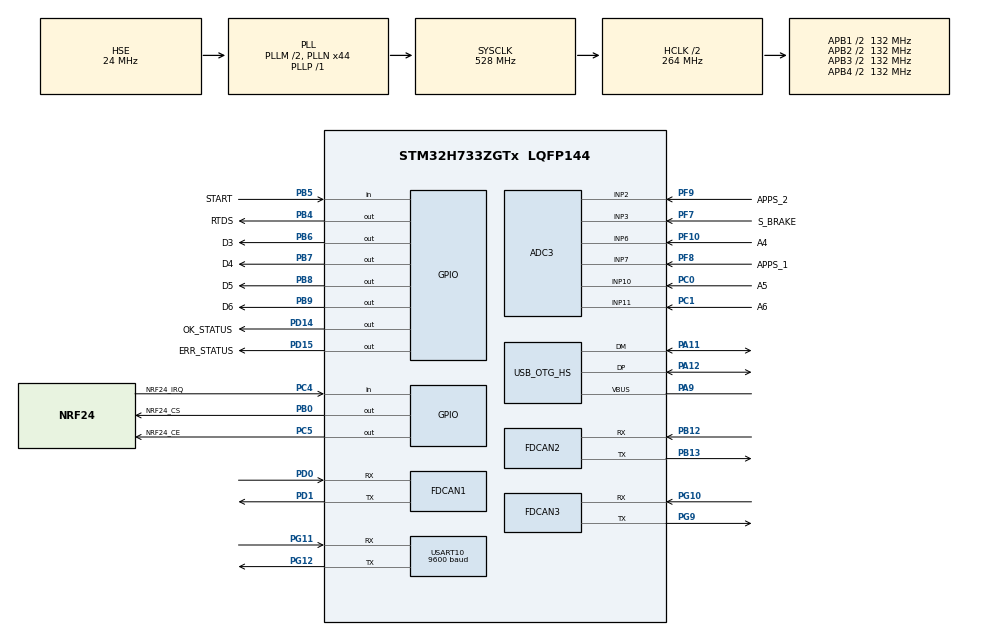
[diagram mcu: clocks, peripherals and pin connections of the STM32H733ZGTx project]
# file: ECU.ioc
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ADC3.Channel-0\#ChannelRegularConversion=ADC_CHANNEL_3
ADC3.NbrOfConversionFlag=1
ADC3.OffsetNumber-0\#ChannelRegularConversion=ADC_OFFSET_NONE
ADC3.OffsetSign-0\#ChannelRegularConversion=ADC3_OFFSET_SIGN_NEGATIVE
ADC3.Rank-0\#ChannelRegularConversion=1
ADC3.SamplingTime-0\#ChannelRegularConversion=ADC3_SAMPLETIME_2CYCLES_5
FDCAN1.AutoRetransmission=ENABLE
FDCAN1.CalculateBaudRateNominal=500000
FDCAN1.CalculateTimeBitNominal=2000
FDCAN1.CalculateTimeQuantumNominal=125.0
FDCAN1.ExtFiltersNbr=1
FDCAN1.NominalPrescaler=3
FDCAN1.NominalTimeSeg1=13
FDCAN1.NominalTimeSeg2=2
FDCAN1.RxBuffersNbr=0
FDCAN1.RxFifo0ElmtsNbr=32
FDCAN1.RxFifo1ElmtsNbr=32
FDCAN1.StdFiltersNbr=1
FDCAN1.TxBuffersNbr=0
FDCAN1.TxEventsNbr=0
FDCAN1.TxFifoQueueElmtsNbr=32
FDCAN2.AutoRetransmission=ENABLE
FDCAN2.CalculateBaudRateNominal=500000
FDCAN2.CalculateTimeBitNominal=2000
FDCAN2.CalculateTimeQuantumNominal=125.0
FDCAN2.ExtFiltersNbr=1
FDCAN2.FrameFormat=FDCAN_FRAME_CLASSIC
FDCAN2.NominalPrescaler=3
FDCAN2.NominalTimeSeg1=10
FDCAN2.NominalTimeSeg2=5
FDCAN2.RxBuffersNbr=0
FDCAN2.RxFifo0ElmtSize=FDCAN_DATA_BYTES_8
FDCAN2.RxFifo0ElmtsNbr=16
FDCAN2.RxFifo1ElmtsNbr=16
FDCAN2.StdFiltersNbr=1
FDCAN2.TxBuffersNbr=0
FDCAN2.TxEventsNbr=0
FDCAN2.TxFifoQueueElmtsNbr=16
FDCAN3.AutoRetransmission=ENABLE
FDCAN3.CalculateBaudRateNominal=500000
FDCAN3.CalculateTimeBitNominal=2000
FDCAN3.CalculateTimeQuantumNominal=41.666666666666664
FDCAN3.NominalPrescaler=1
FDCAN3.NominalTimeSeg1=34
FDCAN3.NominalTimeSeg2=13
FDCAN3.TxFifoQueueElmtsNbr=32
FREERTOS.Queues01=can_rx_queue,32,CanFrame,0,Dynamic,NULL,NULL;can_tx_queue,32,CanFrame,0,Dynamic,NULL,NULL
FREERTOS.Tasks01=defaultTask,8,128,StartDefaultTask,Default,NULL,Dynamic,NULL,NULL;App_InitTask,40,512,StartAppInitTask,Default,NULL,Dynamic,NULL,NULL;ControlTask,48,512,StartControlTask,Default,NULL,Dynamic,NULL,NULL;CanRxTask,32,512,StartCanRxTask,Default,NULL,Dynamic,NULL,NULL;CanTxTask,32,256,StartCanTxTask,Default,NULL,Dynamic,NULL,NULL;DiagTask,8,512,StartDiagTask,Default,NULL,Dynamic,NULL,NULL;TelemetryTask,16,512,StartTelemetryTask,Default,NULL,Dynamic,NULL,NULL
FREERTOS.configCHECK_FOR_STACK_OVERFLOW=2
FREERTOS.configENABLE_FPU=1
FREERTOS.configTICK_RATE_HZ=1000
FREERTOS.configTOTAL_HEAP_SIZE=65536
FREERTOS.configUSE_MALLOC_FAILED_HOOK=1
FREERTOS.configUSE_NEWLIB_REENTRANT=1
IWDG1.Prescaler=IWDG_PRESCALER_32
IWDG1.Reload=500
Mcu.Family=STM32H7
Mcu.Name=STM32H733ZGTx
Mcu.Package=LQFP144
NVIC.FDCAN1_IT0_IRQn=true\:5\:0\:true\:false\:true\:true\:true\:true\:true
NVIC.FDCAN2_IT0_IRQn=true\:5\:0\:true\:false\:true\:true\:true\:true\:true
NVIC.PriorityGroup=NVIC_PRIORITYGROUP_4
NVIC.TIM16_IRQn=true\:5\:0\:false\:false\:true\:true\:true\:true\:true
NVIC.TIM23_IRQn=true\:15\:0\:false\:false\:true\:false\:false\:true\:true
NVIC.TimeBase=TIM23_IRQn
NVIC.TimeBaseIP=TIM23
NVIC.USART10_IRQn=true\:5\:0\:false\:false\:true\:true\:true\:true\:true
PA11.Mode=Device_Only_FS
PA11.Signal=USB_OTG_HS_DM
PA12.Mode=Device_Only_FS
PA12.Signal=USB_OTG_HS_DP
PA13(JTMS/SWDIO).Mode=Serial_Wire
PA13(JTMS/SWDIO).Signal=DEBUG_JTMS-SWDIO
PA14(JTCK/SWCLK).Mode=Serial_Wire
PA14(JTCK/SWCLK).Signal=DEBUG_JTCK-SWCLK
PA9.Mode=Activate_VBUS_FS
PA9.Signal=USB_OTG_HS_VBUS
PB0.GPIO_Label=NRF24_CS
PB0.Signal=GPIO_Output
PB12.Mode=FDCAN_Activate
PB12.Signal=FDCAN2_RX
PB13.Mode=FDCAN_Activate
PB13.Signal=FDCAN2_TX
PB4(NJTRST).GPIO_Label=RTDS
PB4(NJTRST).Signal=GPIO_Output
PB5.GPIO_Label=START
PB5.Signal=GPIO_Input
PB6.GPIO_Label=D3
PB6.Signal=GPIO_Output
PB7.GPIO_Label=D4
PB7.Signal=GPIO_Output
PB8.GPIO_Label=D5
PB8.Signal=GPIO_Output
PB9.GPIO_Label=D6
PB9.Signal=GPIO_Output
PC0.GPIO_Label=A5
PC0.Signal=ADCx_INP10
PC1.GPIO_Label=A6
PC1.Signal=ADCx_INP11
PC4.GPIO_Label=NRF24_IRQ
PC4.Signal=GPIO_Input
PC5.GPIO_Label=NRF24_CE
PC5.Signal=GPIO_Output
PD0.Mode=FDCAN_Activate
PD0.Signal=FDCAN1_RX
PD1.Mode=FDCAN_Activate
PD1.Signal=FDCAN1_TX
PD14.GPIO_Label=OK_STATUS
PD14.Signal=GPIO_Output
PD15.GPIO_Label=ERR_STATUS
PD15.Signal=GPIO_Output
PF10.GPIO_Label=A4
PF10.Mode=IN6-Single-Ended
PF10.Signal=ADC3_INP6
PF7.GPIO_Label=S_BRAKE
PF7.Mode=IN3-Single-Ended
PF7.Signal=ADC3_INP3
PF8.GPIO_Label=APPS_1
PF8.Signal=SharedAnalog_PF8
PF9.GPIO_Label=APPS_2
PF9.Mode=IN2-Single-Ended
PF9.Signal=ADC3_INP2
PG10.Mode=FDCAN_Activate
PG10.Signal=FDCAN3_RX
PG11.Mode=Asynchronous
PG11.Signal=USART10_RX
PG12.Mode=Asynchronous
PG12.Signal=USART10_TX
PG9.Mode=FDCAN_Activate
PG9.Signal=FDCAN3_TX
PH0-OSC_IN.Mode=HSE-External-Oscillator
PH0-OSC_IN.Signal=RCC_OSC_IN
PH1-OSC_OUT.Mode=HSE-External-Oscillator
PH1-OSC_OUT.Signal=RCC_OSC_OUT
ProjectManager.HeapSize=0x1000
ProjectManager.StackSize=0x400
ProjectManager.TargetToolchain=STM32CubeIDE
RCC.ADCCLockSelection=RCC_ADCCLKSOURCE_PLL2
RCC.ADCFreq_Value=96000000
RCC.APB1Freq_Value=132000000
RCC.APB2Freq_Value=132000000
RCC.APB3Freq_Value=132000000
RCC.APB4Freq_Value=132000000
RCC.CECCLockSelection=RCC_CECCLKSOURCE_LSI
RCC.CKPERSourceSelection=RCC_CLKPSOURCE_HSI
RCC.CSI_VALUE=4000000
RCC.CortexFreq_Value=528000000
RCC.Cortex_DivARG=SystemCoreClock/1000
RCC.D1PPRE=RCC_APB3_DIV2
RCC.D2PPRE1=RCC_APB1_DIV2
RCC.D2PPRE2=RCC_APB2_DIV2
RCC.D3PPRE=RCC_APB4_DIV2
RCC.DFSDMCLockSelection=RCC_DFSDM1CLKSOURCE_D2PCLK1
RCC.DIVM1=2
RCC.DIVM2=2
RCC.DIVN1=44
RCC.DIVN2=16
RCC.DIVP1=1
RCC.DIVQ1=4
RCC.DIVR2=1
RCC.EXTERNAL_CLOCK_VALUE=12288000
RCC.FDCANCLockSelection=RCC_FDCANCLKSOURCE_HSE
RCC.FMCCLockSelection=RCC_FMCCLKSOURCE_D1HCLK
RCC.HCLKFreq_Value=264000000
RCC.HPRE=RCC_HCLK_DIV2
RCC.HSE_VALUE=24000000
RCC.HSI48_VALUE=48000000
RCC.HSI_VALUE=64000000
RCC.I2C123CLockSelection=RCC_I2C1235CLKSOURCE_D2PCLK1
RCC.I2C4CLockSelection=RCC_I2C4CLKSOURCE_D3PCLK1
RCC.LPTIM1CLockSelection=RCC_LPTIM1CLKSOURCE_D2PCLK1
RCC.LPTIM2CLockSelection=RCC_LPTIM2CLKSOURCE_D3PCLK1
RCC.LPTIM345CLockSelection=RCC_LPTIM345CLKSOURCE_D3PCLK1
RCC.LPUART1CLockSelection=RCC_LPUART1CLKSOURCE_D3PCLK1
RCC.LSE_VALUE=32768
RCC.PLL2FRACN=0
RCC.PLL3FRACN=0
RCC.PLLFRACN=0
RCC.PLLSourceVirtual=RCC_PLLSOURCE_HSE
RCC.QSPICLockSelection=RCC_OSPICLKSOURCE_D1HCLK
RCC.RCC_MCO1Source=RCC_MCO1SOURCE_HSI
RCC.RCC_MCO2Source=RCC_MCO2SOURCE_SYSCLK
RCC.RNGCLockSelection=RCC_RNGCLKSOURCE_HSI48
RCC.SAI1CLockSelection=RCC_SAI1CLKSOURCE_PLL
RCC.SAI4ACLockSelection=RCC_SAI4ACLKSOURCE_PLL
RCC.SAI4BCLockSelection=RCC_SAI4BCLKSOURCE_PLL
RCC.SDMMC1CLockSelection=RCC_SDMMCCLKSOURCE_PLL2
RCC.SPDIFCLockSelection=RCC_SPDIFRXCLKSOURCE_PLL
RCC.SPI123CLockSelection=RCC_SPI123CLKSOURCE_PLL
RCC.SPI6CLockSelection=RCC_SPI6CLKSOURCE_D3PCLK1
RCC.SWPCLockSelection=RCC_SWPMI1CLKSOURCE_D2PCLK1
RCC.SYSCLKFreq_VALUE=528000000
RCC.SYSCLKSource=RCC_SYSCLKSOURCE_PLLCLK
RCC.Spi45ClockSelection=RCC_SPI45CLKSOURCE_D2PCLK1
RCC.USART16CLockSelection=RCC_USART16910CLKSOURCE_D2PCLK2
RCC.USART234578CLockSelection=RCC_USART234578CLKSOURCE_D2PCLK1
RCC.USBCLockSelection=RCC_USBCLKSOURCE_HSI48
RCC.USBFreq_Value=48000000
SH.ADCx_INP10.0=ADC3_INP10,IN10-Single-Ended
SH.ADCx_INP11.0=ADC3_INP11,IN11-Single-Ended
SH.SharedAnalog_PF8.0=ADC3_INN3
SH.SharedAnalog_PF8.1=ADC3_INP7,IN7-Single-Ended
TIM1.AutoReloadPreload=TIM_AUTORELOAD_PRELOAD_ENABLE
TIM1.Period=65535
TIM1.Prescaler=0
TIM16.Period=10000 - 1
TIM16.Prescaler=528
USART10.BaudRate=9600
USART10.VirtualMode-Asynchronous=VM_ASYNC
USB_OTG_HS.VirtualMode-Device_Only_FS=Device_Only_FS
VP_FREERTOS_VS_CMSIS_V2.Mode=CMSIS_V2
VP_IWDG1_VS_IWDG.Mode=IWDG_Activate
VP_MEMORYMAP_VS_MEMORYMAP.Mode=CurAppReg
VP_SYS_VS_tim23.Mode=TIM23
VP_TIM16_VS_ClockSourceINT.Mode=Enable_Timer
VP_TIM1_VS_ClockSourceINT.Mode=Internal
board=custom

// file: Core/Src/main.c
/* USER CODE BEGIN Header */
/**
  ******************************************************************************
  * @file           : main.c
  * @brief          : Main program body
  ******************************************************************************
  * @attention
  *
  * Copyright (c) 2026 STMicroelectronics.
  * All rights reserved.
  *
  * This software is licensed under terms that can be found in the LICENSE file
  * in the root directory of this software component.
  * If no LICENSE file comes with this software, it is provided AS-IS.
  *
  ******************************************************************************
  */
/* USER CODE END Header */
#include "main.h"
#include "FreeRTOS.h"
#include "cmsis_os2.h"
#include "adc.h"
#include "fdcan.h"
#include "iwdg.h"
#include "tim.h"
#include "usart.h"
#include "usb_otg.h"
#include "gpio.h"

void SystemClock_Config(void);
void MX_FREERTOS_Init(void);

int main(void)
{

  /* USER CODE BEGIN 1 */
  /* The stm32-can-bootloader hands the app off with IRQs masked (__disable_irq)
   * and SysTick stopped -- by design (its Bootloader_JumpToApplication, issue #59),
   * relying on the app to re-enable IRQs once it owns the CPU. Until we do, the
   * HAL timebase interrupt (TIM23) can't fire, HAL_GetTick() stays frozen, and
   * HAL's tick-based waits in HAL_Init / SystemClock_Config spin forever -> the
   * BL-inherited IWDG resets us before our own init runs (the intermittent boot
   * crash; SWD-confirmed: PRIMASK set hangs in HAL_Init, cleared it boots; bench
   * 6/6 cold-boots). Clear any stale pending SysTick, then unmask -- first thing. */
  SCB->ICSR = SCB_ICSR_PENDSTCLR_Msk;
  __enable_irq();
  /* USER CODE END 1 */

  /* MCU Configuration--------------------------------------------------------*/

  /* Reset of all peripherals, Initializes the Flash interface and the Systick. */
  HAL_Init();

  /* Configure the system clock */
  SystemClock_Config();

  /* USER CODE BEGIN SysInit */
  /* Bootloader-handoff hardening (fixes the intermittent IWDG boot crash; SWD
   * confirmed the app re-inits FDCAN over the BL's LIVE state, while the clean
   * reset path never faults):
   *   1) The BL leaves its IWDG running -- we inherit it across the jump and
   *      can't stop it. Refresh it now so a slow early init can't trip it before
   *      MX_IWDG1_Init re-owns it. Harmless no-op if no IWDG is running.
   *   2) The BL leaves FDCAN started + the shared message RAM populated. Force
   *      the FDCAN peripheral back to its reset state so MX_FDCAN1/2_Init configure
   *      from a known-clean baseline, exactly like a cold power-on (one reset line
   *      covers all FDCAN instances). */
  IWDG1->KR = 0x0000AAAAU;
  __HAL_RCC_FDCAN_FORCE_RESET();
  __HAL_RCC_FDCAN_RELEASE_RESET();
  /* USER CODE END SysInit */

  /* Initialize all configured peripherals */
  MX_GPIO_Init();
  MX_FDCAN1_Init();
  MX_FDCAN2_Init();
  MX_TIM1_Init();
  MX_TIM16_Init();
  MX_ADC3_Init();
  MX_USART10_UART_Init();
  MX_USB_OTG_HS_PCD_Init();
  MX_IWDG1_Init();
  MX_FDCAN3_Init();
  /* USER CODE BEGIN 2 */
  /* H7: HAL_PWR_EnableBkUpAccess() unlocks backup-domain WRITES but does not
   * clock the RTC. The fault latch (error_latch) and the BL boot-magic
   * (bootloader) live in RTC->BKPxR, and any BKPxR access bus-faults while the
   * RTC APB clock is off -- which it is after a backup-domain reset. The app
   * inherited RTCEN from the BL only on warm jumps; enable it explicitly here,
   * once, before the scheduler, so every BKPxR user works. Mirrors the BL. */
  HAL_PWR_EnableBkUpAccess();
  if ((RCC->BDCR & RCC_BDCR_RTCEN) == 0U) {
    __HAL_RCC_RTC_ENABLE();
  }
  /* USER CODE END 2 */

  /* Init scheduler */
  osKernelInitialize();  /* Call init function for freertos objects (in cmsis_os2.c) */
  MX_FREERTOS_Init();

  /* Start scheduler */
  osKernelStart();

  /* We should never get here as control is now taken by the scheduler */

  /* Infinite loop */
  while (1)
  {

  }
}

void SystemClock_Config(void)
{
  RCC_OscInitTypeDef RCC_OscInitStruct = {0};
  RCC_ClkInitTypeDef RCC_ClkInitStruct = {0};

  /** Supply configuration update enable
  */
  HAL_PWREx_ConfigSupply(PWR_LDO_SUPPLY);

  /** Configure the main internal regulator output voltage
  */
  __HAL_PWR_VOLTAGESCALING_CONFIG(PWR_REGULATOR_VOLTAGE_SCALE0);

  while(!__HAL_PWR_GET_FLAG(PWR_FLAG_VOSRDY)) {}

  /** Initializes the RCC Oscillators according to the specified parameters
  * in the RCC_OscInitTypeDef structure.
  */
  RCC_OscInitStruct.OscillatorType = RCC_OSCILLATORTYPE_HSI48|RCC_OSCILLATORTYPE_LSI
                              |RCC_OSCILLATORTYPE_HSE;
  RCC_OscInitStruct.HSEState = RCC_HSE_ON;
  RCC_OscInitStruct.LSIState = RCC_LSI_ON;
  RCC_OscInitStruct.HSI48State = RCC_HSI48_ON;
  RCC_OscInitStruct.PLL.PLLState = RCC_PLL_ON;
  RCC_OscInitStruct.PLL.PLLSource = RCC_PLLSOURCE_HSE;
  RCC_OscInitStruct.PLL.PLLM = 2;
  RCC_OscInitStruct.PLL.PLLN = 44;
  RCC_OscInitStruct.PLL.PLLP = 1;
  RCC_OscInitStruct.PLL.PLLQ = 4;
  RCC_OscInitStruct.PLL.PLLR = 2;
  RCC_OscInitStruct.PLL.PLLRGE = RCC_PLL1VCIRANGE_3;
  RCC_OscInitStruct.PLL.PLLVCOSEL = RCC_PLL1VCOWIDE;
  RCC_OscInitStruct.PLL.PLLFRACN = 0;
  if (HAL_RCC_OscConfig(&RCC_OscInitStruct) != HAL_OK)
  {
    Error_Handler();
  }

  /** Initializes the CPU, AHB and APB buses clocks
  */
  RCC_ClkInitStruct.ClockType = RCC_CLOCKTYPE_HCLK|RCC_CLOCKTYPE_SYSCLK
                              |RCC_CLOCKTYPE_PCLK1|RCC_CLOCKTYPE_PCLK2
                              |RCC_CLOCKTYPE_D3PCLK1|RCC_CLOCKTYPE_D1PCLK1;
  RCC_ClkInitStruct.SYSCLKSource = RCC_SYSCLKSOURCE_PLLCLK;
  RCC_ClkInitStruct.SYSCLKDivider = RCC_SYSCLK_DIV1;
  RCC_ClkInitStruct.AHBCLKDivider = RCC_HCLK_DIV2;
  RCC_ClkInitStruct.APB3CLKDivider = RCC_APB3_DIV2;
  RCC_ClkInitStruct.APB1CLKDivider = RCC_APB1_DIV2;
  RCC_ClkInitStruct.APB2CLKDivider = RCC_APB2_DIV2;
  RCC_ClkInitStruct.APB4CLKDivider = RCC_APB4_DIV2;

  if (HAL_RCC_ClockConfig(&RCC_ClkInitStruct, FLASH_LATENCY_3) != HAL_OK)
  {
    Error_Handler();
  }
}

void HAL_TIM_PeriodElapsedCallback(TIM_HandleTypeDef *htim)
{
  if (htim->Instance == TIM23)
  {
    HAL_IncTick();
  }
}

void Error_Handler(void)
{
  __disable_irq();
  while (1)
  {
  }
}

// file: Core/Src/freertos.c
/* USER CODE BEGIN Header */
/**
  ******************************************************************************
  * File Name          : freertos.c
  * Description        : Code for freertos applications
  ******************************************************************************
  * @attention
  *
  * Copyright (c) 2026 STMicroelectronics.
  * All rights reserved.
  *
  * This software is licensed under terms that can be found in the LICENSE file
  * in the root directory of this software component.
  * If no LICENSE file comes with this software, it is provided AS-IS.
  *
  ******************************************************************************
  */
/* USER CODE END Header */

#include "FreeRTOS.h"
#include "task.h"
#include "main.h"
#include "FreeRTOS.h"
#include "cmsis_os2.h"

/* USER CODE BEGIN Includes */
#include "app/app_globals.h"   /* ecu_app_globals_init, ecu_fault_latch_set_c */
#include "app/app_tasks.h"     /* ecu_*_task_run trampolines */
#include "app/can_frame.h"     /* CanFrame -> sizeof() for the queues below */
/* USER CODE END Includes */

/* USER CODE BEGIN Variables */
/* GpsTask -- MTK3339 NMEA drain + 0x508/0x509 publish (Core/Src/app/gps_task.cpp).
 * Deliberately declared and created HERE, in the USER CODE blocks, instead of via
 * CubeMX: a regen rewrites the generated task tables (it has already silently
 * reset the FDCAN2 MessageRAM offset once), and losing the GPS task to a regen
 * would be a silent telemetry outage. USER CODE survives regeneration.
 * Low priority -- it must never compete with ControlTask; the RX ring absorbs
 * any preemption. */
osThreadId_t GpsTaskHandle;
const osThreadAttr_t GpsTask_attributes = {
  .name = "GpsTask",
  .stack_size = 512 * 4,
  .priority = (osPriority_t) osPriorityLow,
};
/* USER CODE END Variables */
/* Definitions for defaultTask */
osThreadId_t defaultTaskHandle;
const osThreadAttr_t defaultTask_attributes = {
  .name = "defaultTask",
  .stack_size = 128 * 4,
  .priority = (osPriority_t) osPriorityLow,
};
/* Definitions for App_InitTask */
osThreadId_t App_InitTaskHandle;
const osThreadAttr_t App_InitTask_attributes = {
  .name = "App_InitTask",
  .stack_size = 512 * 4,
  .priority = (osPriority_t) osPriorityHigh,
};
/* Definitions for ControlTask */
osThreadId_t ControlTaskHandle;
const osThreadAttr_t ControlTask_attributes = {
  .name = "ControlTask",
  .stack_size = 512 * 4,
  .priority = (osPriority_t) osPriorityRealtime,
};
/* Definitions for CanRxTask */
osThreadId_t CanRxTaskHandle;
const osThreadAttr_t CanRxTask_attributes = {
  .name = "CanRxTask",
  .stack_size = 512 * 4,
  .priority = (osPriority_t) osPriorityAboveNormal,
};
/* Definitions for CanTxTask */
osThreadId_t CanTxTaskHandle;
const osThreadAttr_t CanTxTask_attributes = {
  .name = "CanTxTask",
  .stack_size = 256 * 4,
  .priority = (osPriority_t) osPriorityAboveNormal,
};
/* Definitions for DiagTask */
osThreadId_t DiagTaskHandle;
const osThreadAttr_t DiagTask_attributes = {
  .name = "DiagTask",
  .stack_size = 512 * 4,
  .priority = (osPriority_t) osPriorityLow,
};
/* Definitions for TelemetryTask */
osThreadId_t TelemetryTaskHandle;
const osThreadAttr_t TelemetryTask_attributes = {
  .name = "TelemetryTask",
  .stack_size = 512 * 4,
  .priority = (osPriority_t) osPriorityBelowNormal,
};
/* Definitions for can_rx_queue */
osMessageQueueId_t can_rx_queueHandle;
const osMessageQueueAttr_t can_rx_queue_attributes = {
  .name = "can_rx_queue"
};
/* Definitions for can_tx_queue */
osMessageQueueId_t can_tx_queueHandle;
const osMessageQueueAttr_t can_tx_queue_attributes = {
  .name = "can_tx_queue"
};

void StartDefaultTask(void *argument);
void StartAppInitTask(void *argument);
void StartControlTask(void *argument);
void StartCanRxTask(void *argument);
void StartCanTxTask(void *argument);
void StartDiagTask(void *argument);
void StartTelemetryTask(void *argument);

void MX_FREERTOS_Init(void); /* (MISRA C 2004 rule 8.1) */

/* Hook prototypes */
void vApplicationStackOverflowHook(xTaskHandle xTask, char *pcTaskName);
void vApplicationMallocFailedHook(void);

/* USER CODE BEGIN 4 */
void vApplicationStackOverflowHook(xTaskHandle xTask, char *pcTaskName)
{
   /* Run time stack overflow checking is performed if
   configCHECK_FOR_STACK_OVERFLOW is defined to 1 or 2. This hook function is
   called if a stack overflow is detected. */
   (void)xTask; (void)pcTaskName;
   ecu_fault_latch_set_c(0xF5u);   /* FaultCode::StackOverflow -> 0x704 last_fault */
}
/* USER CODE END 4 */

/* USER CODE BEGIN 5 */
void vApplicationMallocFailedHook(void)
{
   /* vApplicationMallocFailedHook() will only be called if
   configUSE_MALLOC_FAILED_HOOK is set to 1 in FreeRTOSConfig.h. It is a hook
   function that will get called if a call to pvPortMalloc() fails.
   pvPortMalloc() is called internally by the kernel whenever a task, queue,
   timer or semaphore is created. It is also called by various parts of the
   demo application. If heap_1.c or heap_2.c are used, then the size of the
   heap available to pvPortMalloc() is defined by configTOTAL_HEAP_SIZE in
   FreeRTOSConfig.h, and the xPortGetFreeHeapSize() API function can be used
   to query the size of free heap space that remains (although it does not
   provide information on how the remaining heap might be fragmented). */
   ecu_fault_latch_set_c(0xF6u);   /* FaultCode::MallocFailed -> 0x704 last_fault */
}
/* USER CODE END 5 */

void MX_FREERTOS_Init(void) {
  /* USER CODE BEGIN Init */
  ecu_app_globals_init();
  /* USER CODE END Init */

  /* Create the queue(s) */
  /* creation of can_rx_queue */
  can_rx_queueHandle = osMessageQueueNew (32, sizeof(CanFrame), &can_rx_queue_attributes);

  /* creation of can_tx_queue */
  can_tx_queueHandle = osMessageQueueNew (32, sizeof(CanFrame), &can_tx_queue_attributes);

  /* Create the thread(s) */
  /* creation of defaultTask */
  defaultTaskHandle = osThreadNew(StartDefaultTask, NULL, &defaultTask_attributes);

  /* creation of App_InitTask */
  App_InitTaskHandle = osThreadNew(StartAppInitTask, NULL, &App_InitTask_attributes);

  /* creation of ControlTask */
  ControlTaskHandle = osThreadNew(StartControlTask, NULL, &ControlTask_attributes);

  /* creation of CanRxTask */
  CanRxTaskHandle = osThreadNew(StartCanRxTask, NULL, &CanRxTask_attributes);

  /* creation of CanTxTask */
  CanTxTaskHandle = osThreadNew(StartCanTxTask, NULL, &CanTxTask_attributes);

  /* creation of DiagTask */
  DiagTaskHandle = osThreadNew(StartDiagTask, NULL, &DiagTask_attributes);

  /* creation of TelemetryTask */
  TelemetryTaskHandle = osThreadNew(StartTelemetryTask, NULL, &TelemetryTask_attributes);

  /* USER CODE BEGIN RTOS_THREADS */
  /* GpsTask: ecu_gps_task_run already has the osThreadFunc_t signature, so it is
     passed directly -- no CubeMX Start* trampoline needed. */
  GpsTaskHandle = osThreadNew(ecu_gps_task_run, NULL, &GpsTask_attributes);
  /* add threads, ... */
  /* USER CODE END RTOS_THREADS */

}

void StartDefaultTask(void *argument)
{
  for(;;)
  {
    osDelay(1);
  }
}

void StartAppInitTask(void *argument)
{
  /* USER CODE BEGIN StartAppInitTask */
  ecu_app_init_task_run(argument);
  /* USER CODE END StartAppInitTask */
}

void StartControlTask(void *argument)
{
  /* USER CODE BEGIN StartControlTask */
  ecu_control_task_run(argument);
  /* USER CODE END StartControlTask */
}

void StartCanRxTask(void *argument)
{
  /* USER CODE BEGIN StartCanRxTask */
  ecu_can_rx_task_run(argument);
  /* USER CODE END StartCanRxTask */
}

void StartCanTxTask(void *argument)
{
  /* USER CODE BEGIN StartCanTxTask */
  ecu_can_tx_task_run(argument);
  /* USER CODE END StartCanTxTask */
}

void StartDiagTask(void *argument)
{
  /* USER CODE BEGIN StartDiagTask */
  ecu_diag_task_run(argument);
  /* USER CODE END StartDiagTask */
}

void StartTelemetryTask(void *argument)
{
  /* USER CODE BEGIN StartTelemetryTask */
  ecu_telemetry_task_run(argument);
  /* USER CODE END StartTelemetryTask */
}
